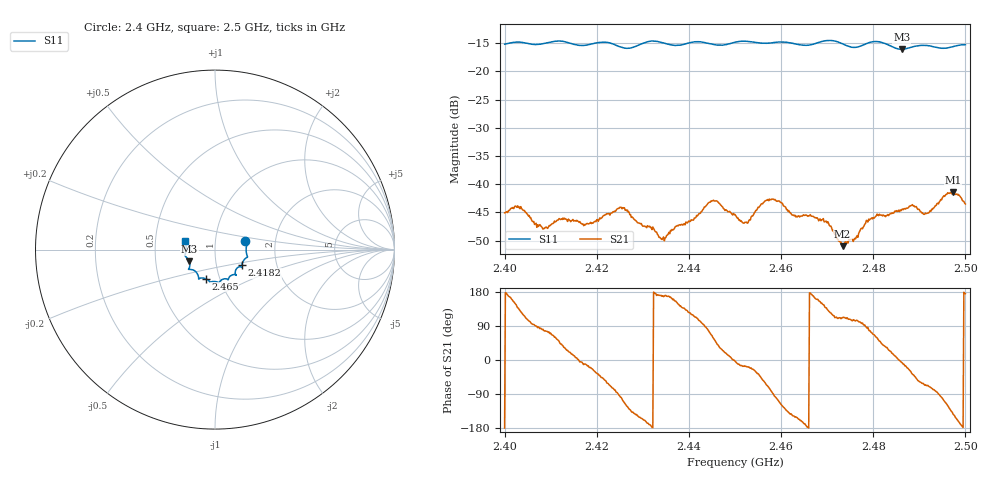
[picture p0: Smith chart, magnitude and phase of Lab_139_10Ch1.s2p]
# Hz S RI R 50
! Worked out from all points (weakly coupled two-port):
!   601 points, 2.4 GHz to 2.5 GHz, reference 50 ohm
!   highest |S21| = -41.35 dB at 2.4973 GHz (marker M1); lowest = -51.0 dB at 2.4733 GHz (marker M2)
!   lowest |S11| = -16.1 dB at 2.4862 GHz (marker M3), VSWR 1.37, Z = 37.2 - j4.89 ohm
!   |S11| at or under -10 dB: start of sweep to end of sweep
!   S12 and S22 are empty: the file has one direction only
!   S11 on the Smith chart (normalised r, x): 2.4 GHz: 1.40, +0.14; 2.4182 GHz: 1.33, -0.23; 2.465 GHz: 0.86, -0.29; 2.5 GHz: 0.71, +0.07
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2.4e9  0.1679 0.047  -0.00559 -4.25e-05  0 0  0 0
2.403333e9  0.1794 0.0309  -0.00394 0.00461  0 0  0 0
2.408833e9  0.1761 -0.0244  0.000927 0.00404  0 0  0 0
2.412167e9  0.1808 -0.0417  0.00361 0.00327  0 0  0 0
2.416667e9  0.1554 -0.0681  0.00446 -0.00041  0 0  0 0
2.418167e9  0.1499 -0.0847  0.00429 -0.00117  0 0  0 0
2.4255e9  0.1304 -0.0973  -0.00141 -0.00589  0 0  0 0
2.433333e9  0.1171 -0.1415  -0.0035 0.000502  0 0  0 0
2.445e9  0.0624 -0.1626  0.00301 0.00643  0 0  0 0
2.45e9  0.0258 -0.1797  0.00539 -0.000252  0 0  0 0
2.452333e9  0.0201 -0.184  0.00441 -0.0013  0 0  0 0
2.458e9  -0.0165 -0.1784  0.000672 -0.00737  0 0  0 0
2.465e9  -0.0525 -0.1621  -0.0052 -0.00107  0 0  0 0
2.466667e9  -0.0709 -0.1578  -0.00516 0.000648  0 0  0 0
2.470167e9  -0.0911 -0.1642  -0.00307 0.0035  0 0  0 0
2.473333e9  -0.0923 -0.1493  -0.00104 0.00263  0 0  0 0
2.479e9  -0.1417 -0.1103  0.000891 0.00482  0 0  0 0
2.483333e9  -0.1414 -0.0965  0.00473 0.00234  0 0  0 0
2.486167e9  -0.1434 -0.0642  0.0059 -0.000637  0 0  0 0
2.4915e9  -0.1671 -0.0307  0.00212 -0.00507  0 0  0 0
2.497333e9  -0.1633 0.0293  -0.00683 -0.00515  0 0  0 0
2.5e9  -0.166 0.0471  -0.00665 0.00059  0 0  0 0
